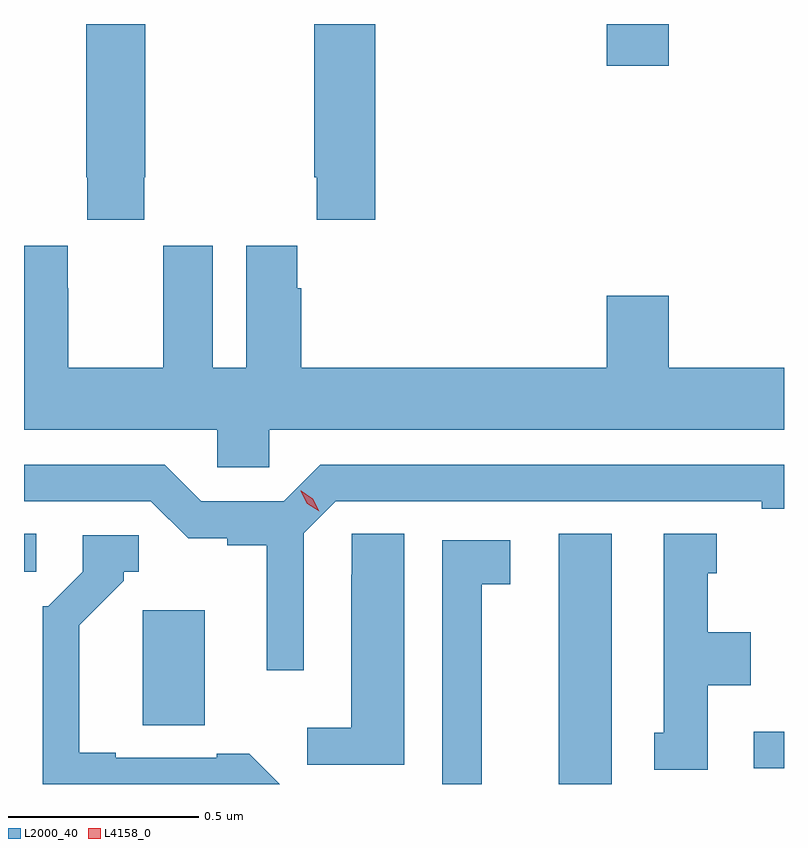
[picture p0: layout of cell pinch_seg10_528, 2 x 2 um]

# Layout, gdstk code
import gdstk
lib = gdstk.Library(unit=1e-6, precision=1e-09)
def R(c, l, rs):  # rectangles x0, y0, x1, y1
    for r in rs: c.add(gdstk.rectangle(r[:2], r[2:], *l))
def P(c, l, *ps):  # polygons
    for p in ps: c.add(gdstk.Polygon(p, *l))
L2000_40 = (2000, 40)
L4158_0 = (4158, 0)

pinch_seg10_528 = lib.new_cell('pinch_seg10_528')
R(pinch_seg10_528, L2000_40, [(200.846,1303.38,200.986,1304.038), (201.36,1303.422,201.439,1303.518), (199.439,1303.938,199.471,1304.039), (200.972,1305.27,201.136,1305.38)])
P(pinch_seg10_528, L2000_40, [(200.203,1304.977),(200.209,1304.977),(200.209,1304.865),(200.363,1304.865),(200.363,1305.38),(200.203,1305.38)],
  [(199.755,1304.977),(199.758,1304.977),(199.758,1305.38),(199.603,1305.38),(199.603,1304.977),(199.605,1304.977),(199.605,1304.865),(199.755,1304.865)],
  [(200.085,1304.312),(201.439,1304.312),(201.439,1304.476),(201.136,1304.476),(201.136,1304.665),(200.972,1304.665),(200.972,1304.476),(200.168,1304.476),(200.168,1304.684),(200.158,1304.684),(200.158,1304.797),(200.024,1304.797),(200.024,1304.476),(199.936,1304.476),(199.936,1304.797),(199.806,1304.797),(199.806,1304.684),(199.805,1304.684),(199.805,1304.476),(199.555,1304.476),(199.555,1304.684),(199.554,1304.684),(199.554,1304.797),(199.439,1304.797),(199.439,1304.312),(199.947,1304.312),(199.947,1304.214),(200.085,1304.214)],
  [(200.175,1304.04),(200.259,1304.124),(201.38,1304.124),(201.38,1304.104),(201.439,1304.104),(201.439,1304.22),(200.219,1304.22),(200.123,1304.124),(199.905,1304.124),(199.809,1304.22),(199.439,1304.22),(199.439,1304.124),(199.773,1304.124),(199.871,1304.027),(199.974,1304.027),(199.974,1304.008),(200.078,1304.008),(200.078,1303.68),(200.175,1303.68)],
  [(200.44,1304.039),(200.301,1304.039),(200.301,1303.931),(200.3,1303.931),(200.3,1303.528),(200.184,1303.528),(200.184,1303.431),(200.44,1303.431)],
  [(201.238,1303.64),(201.352,1303.64),(201.352,1303.78),(201.238,1303.78),(201.238,1303.935),(201.262,1303.935),(201.262,1304.038),(201.122,1304.038),(201.122,1303.515),(201.098,1303.515),(201.098,1303.417),(201.238,1303.417)],
  [(200.032,1303.46),(199.946,1303.46),(199.946,1303.449),(199.681,1303.449),(199.681,1303.462),(199.585,1303.462),(199.585,1303.798),(199.702,1303.915),(199.702,1303.938),(199.741,1303.938),(199.741,1304.034),(199.593,1304.034),(199.593,1303.938),(199.503,1303.848),(199.488,1303.848),(199.488,1303.38),(200.112,1303.38)],
  [(200.644,1303.906),(200.719,1303.906),(200.719,1304.022),(200.54,1304.022),(200.54,1303.38),(200.644,1303.38)],
  [(199.914,1303.692),(199.915,1303.692),(199.915,1303.837),(199.751,1303.837),(199.751,1303.534),(199.914,1303.534)])
P(pinch_seg10_528, L4158_0, [(200.216,1304.098),(200.184,1304.118),(200.167,1304.151),(200.167,1304.152),(200.168,1304.152),(200.199,1304.131),(200.216,1304.098),(200.216,1304.098)])

lib.write_gds('pinch_seg10_528.gds')
